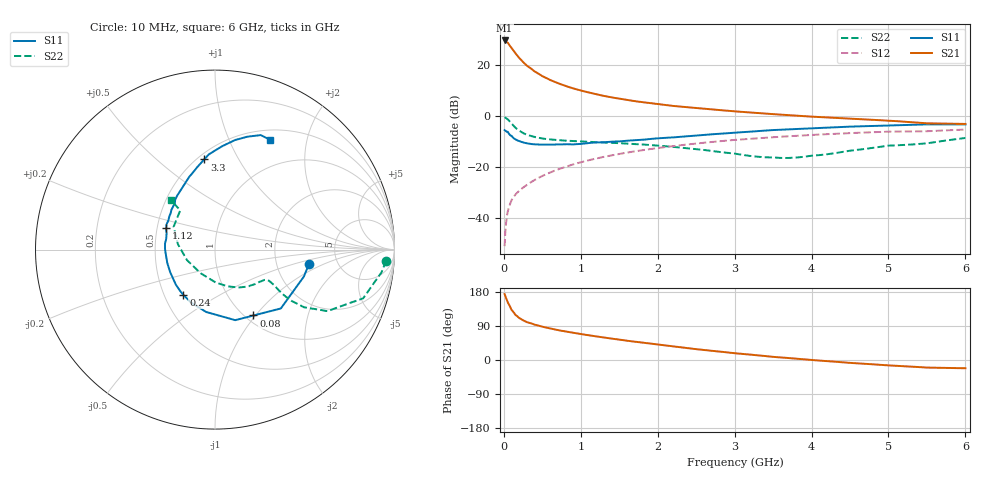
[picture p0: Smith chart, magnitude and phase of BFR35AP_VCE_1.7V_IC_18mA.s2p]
! Infineon Technologies  Discrete & RF Semiconductors
! BFR35AP
! VCE =  1.7 V,  IC =  18 mA
! Common Emitter S-Parameters:  Nov 2015
# GHz  S  MA  R  50
!  f  S11  S21  S12  S22
! GHz  MAG  ANG  MAG  ANG  MAG  ANG  MAG  ANG
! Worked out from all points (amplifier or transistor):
!   210 points, 10 MHz to 6 GHz, reference 50 ohm
!   highest |S21| = 29.7 dB at 10 MHz (marker M1)
!   |S21| within 3 dB of that: start of sweep to 102.4 MHz
!   unconditionally stable (mu >= 1): 359.9 MHz to 4.242 GHz; 5.225 GHz to end of sweep
!   at 185 MHz: K = 0.76, MSG = 26.6 dB, |S12| = -29.7 dB
!   at 1.52 GHz: K = 1.14, MAG = 8.5 dB, |S12| = -14.8 dB
!   at 6 GHz: K = 1.00, MAG = 0.8 dB, |S12| = -5.3 dB
!   S11 on the Smith chart (normalised r, x): 10 MHz: 3.07, -0.71; 80 MHz: 1.09, -0.98; 240 MHz: 0.63, -0.35; 1.12 GHz: 0.56, +0.15; 3.3 GHz: 0.54, +0.73; 6 GHz: 0.62, +1.43
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0.01  0.5292 -9.0  30.48 173.9  0.0028 85.6  0.9553 -3.7
0.02  0.5174 -16.9  30.07 167.9  0.0055 82.8  0.9362 -7.8
0.05  0.492 -41.8  27.62 152.1  0.0133 75.3  0.8689 -18.2
0.08  0.4251 -59.7  23.79 141.4  0.0186 68.4  0.7723 -24.0
0.1  0.409 -74.0  21.83 132.3  0.0223 65.6  0.7133 -28.7
0.15  0.351 -98.1  17.1 119.1  0.0289 63.7  0.5924 -32.9
0.2  0.3239 -114.5  13.84 110.8  0.0342 63.5  0.5163 -33.8
0.24  0.3077 -124.9  11.92 106.0  0.0384 64.1  0.4741 -33.6
0.3  0.2924 -138.4  9.76 99.9  0.0447 65.4  0.4289 -32.8
0.4  0.2796 -153.3  7.529 93.3  0.0557 66.9  0.3872 -31.2
0.5  0.2761 -164.5  6.087 87.7  0.0667 67.9  0.3622 -30.4
0.6  0.2755 -173.8  5.125 83.1  0.078 68.2  0.3482 -30.0
0.7  0.2784 179.4  4.433 78.9  0.0894 68.2  0.3382 -30.2
1.02  0.2866 160.7  3.119 67.9  0.1263 66.3  0.3175 -32.9
1.12  0.298 155.9  2.866 64.7  0.1379 65.6  0.3118 -34.6
1.6  0.3293 137.4  2.067 50.9  0.1919 60.5  0.2875 -42.9
2.02  0.3678 124.8  1.701 40.2  0.238 55.4  0.2617 -52.8
3.1  0.4817 100.3  1.207 16.2  0.3491 40.7  0.1735 -94.2
3.3  0.5059 96.8  1.147 12.4  0.3669 37.8  0.1592 -107.0
4.1  0.5862 84.6  0.957 -1.5  0.4343 26.8  0.1713 -166.4
5.1  0.66 72.9  0.796 -15.3  0.4962 12.7  0.2664 146.9
6  0.6845 63.3  0.701 -21.8  0.5442 2.6  0.3721 131.6
